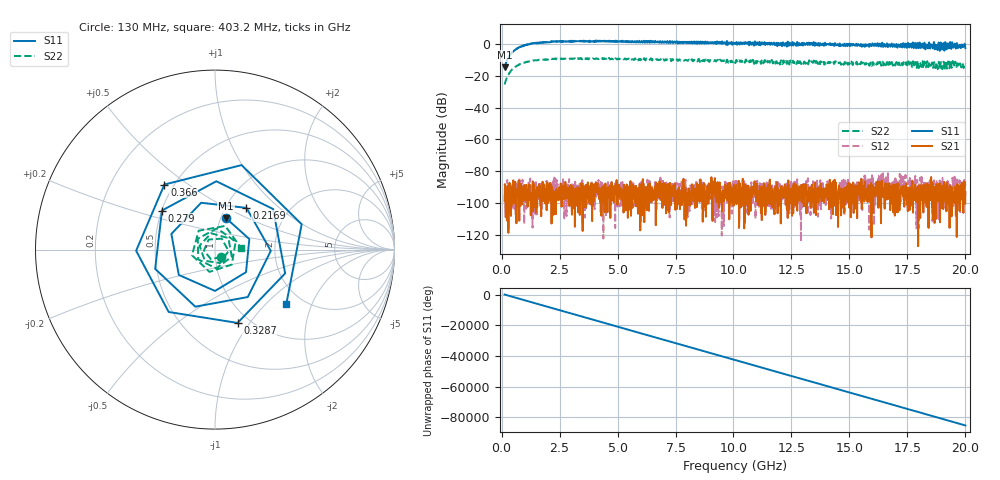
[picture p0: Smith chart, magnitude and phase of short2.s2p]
!Created with skrf (http://scikit-rf.org).
# GHz S RI R 50.0
!freq ReS11 ImS11 ReS21 ImS21 ReS12 ImS12 ReS22 ImS22
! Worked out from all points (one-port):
!   1601 points, 130 MHz to 20 GHz, reference 50 ohm
!   lowest |S11| = -14.6 dB at 130 MHz (marker M1), VSWR 1.46, Z = 53 + j19.2 ohm
!   |S11| at or under -10 dB: start of sweep to 235.8 MHz
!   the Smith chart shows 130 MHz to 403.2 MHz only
!   S11 on the Smith chart (normalised r, x): 130 MHz: 1.06, +0.38; 216.9 MHz: 1.25, +0.63; 279 MHz: 0.50, +0.25; 328.7 MHz: 0.88, -0.88; 366 MHz: 0.44, +0.41; 403.2 MHz: 1.64, -1.34
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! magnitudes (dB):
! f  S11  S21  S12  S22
! 130 MHz  -14.6  -98.7  -91.9  -25.3
! 216.9 MHz  -10.7  -90.2  -90.8  -21.5
! 279 MHz  -8.7  -89.0  -95.3  -19.6
! 328.7 MHz  -7.4  -91.0  -97.9  -18.2
! 366 MHz  -6.8  -96.0  -105.6  -17.6
! 403.2 MHz  -6.0  -108.1  -91.7  -16.7
! 738.5 MHz  -2.1  -85.8  -92.5  -12.9
! 1.297 GHz  0.4  -100.9  -94.4  -10.5
! 2.229 GHz  1.8  -92.9  -88.5  -9.2
! 3.446 GHz  1.8  -89.7  -93.4  -8.8
! 6.762 GHz  1.4  -89.1  -93.9  -9.9
! 10.06 GHz  0.5  -91.1  -86.1  -11.7
! 12.9 GHz  0.0  -94.2  -91.7  -12.0
! 13.38 GHz  0.7  -88.5  -96.8  -10.9
! 14.95 GHz  0.1  -93.1  -84.8  -12.6
! 15.31 GHz  0.0  -101.0  -101.1  -11.0
! 15.78 GHz  -0.5  -99.3  -86.1  -12.8
! 16.7 GHz  -0.2  -91.5  -88.6  -12.2
! 18.44 GHz  1.1  -89.9  -99.5  -11.3
! 18.91 GHz  -2.0  -112.2  -91.2  -15.8
! 19.34 GHz  1.4  -94.9  -87.6  -10.7
! 20 GHz  -2.5  -93.1  -87.9  -12.6
